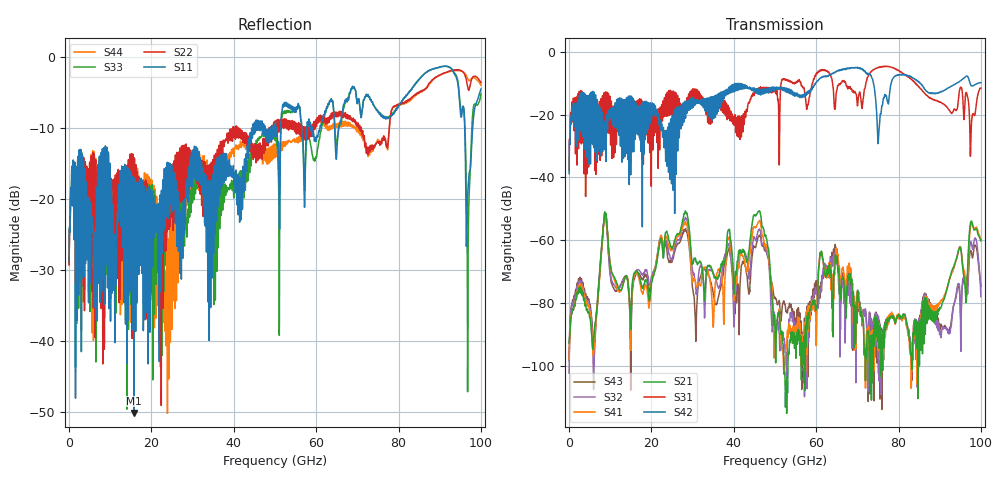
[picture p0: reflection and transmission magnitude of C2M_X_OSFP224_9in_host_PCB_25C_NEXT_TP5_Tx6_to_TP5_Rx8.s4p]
# GHz S RI R 45
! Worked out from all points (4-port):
!   4000 points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, 25 MHz to 100 GHz, reference 45 ohm
!   strongest paths, dB at 25 MHz, 25.02 GHz, 50.02 GHz, 75.03 GHz, 100 GHz:
!     S42: -38.8, -22.1, -11.4, -29.2, -9.9
!     S31: -37.7, -14.6, -12.1, -5.0, -11.6
!     S21: -92.6, -62.6, -88.2, -86.3, -60.2
!     S41: -97.8, -63.1, -89.1, -93.2, -59.8
!     S32: -102.3, -66.1, -86.3, -87.9, -78.0
!     S43: -98.3, -66.8, -78.2, -86.0, -74.7
!   lowest |S11| = -50.2 dB at 15.8 GHz (marker M1), VSWR 1.01, Z = 44.9 - j0.236 ohm
!   |S11| at or under -10 dB: start of sweep to 44.63 GHz; 59.03 GHz to 60.91 GHz (1.884 GHz wide, 3.14 % of centre); 96.08 GHz to 98 GHz (1.927 GHz wide, 1.99 % of centre) (the widest 3 of 20)
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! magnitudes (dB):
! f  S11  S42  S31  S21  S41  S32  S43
! 25 MHz  -28.9  -38.8  -37.7  -92.6  -97.8  -102.3  -98.3
! 6.575 GHz  -24.0  -19.2  -30.3  -84.0  -84.7  -84.2  -86.1
! 8.7 GHz  -18.9  -25.6  -20.7  -51.0  -51.5  -51.3  -51.6
! 15.8 GHz  -50.2  -17.2  -21.1  -70.5  -71.4  -71.5  -72.5
! 28.27 GHz  -22.2  -21.2  -17.8  -50.7  -54.1  -52.7  -56.3
! 49.88 GHz  -10.8  -12.5  -12.5  -83.7  -93.0  -83.6  -78.4
! 100 GHz  -4.6  -9.9  -11.6  -60.2  -59.8  -78.0  -74.7
